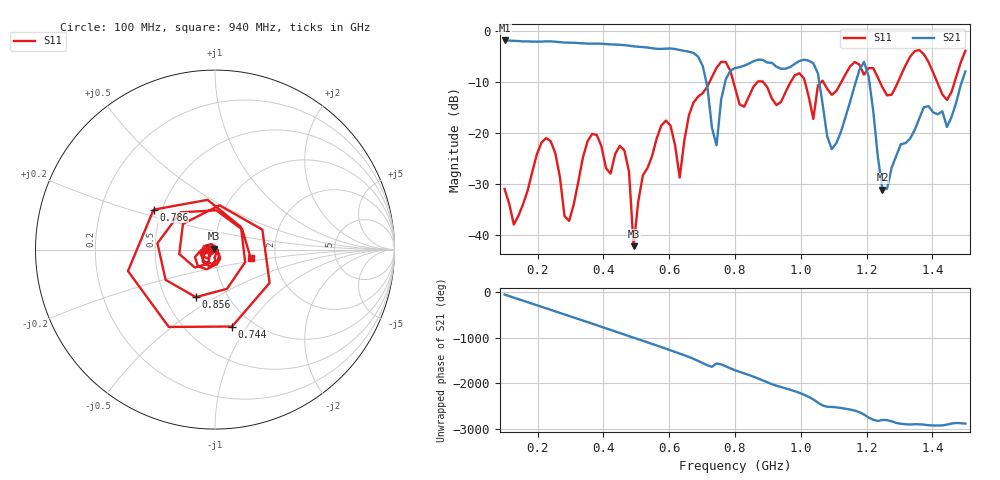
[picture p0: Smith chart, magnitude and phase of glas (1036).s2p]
! NanoVNA-App
! Date: 2025-09-25 16:03:32
! Start: 100MHz Stop: 1,5GHz Points: 101
! S-Parameter data: F S11 S21 S12 S22
# Hz S RI R 50
!  Frequency  S11_Real  S11_Imag  S21_Real  S21_Imag  S12_Real  S12_Imag  S22_Real  S22_Imag
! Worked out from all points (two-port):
!   101 points, 100 MHz to 1.5 GHz, reference 50 ohm
!   highest |S21| = -1.80 dB at 100 MHz (marker M1); lowest = -31.0 dB at 1.248 GHz (marker M2)
!   |S21| within 3 dB of the highest: start of sweep to 684.6 MHz
!   lowest |S11| = -42.1 dB at 492 MHz (marker M3), VSWR 1.02, Z = 49.5 + j0.591 ohm
!   |S11| at or under -10 dB: start of sweep to 722.4 MHz; 795.5 MHz to 867.7 MHz (72.15 MHz wide, 8.68 % of centre); 886.1 MHz to 968.6 MHz (82.45 MHz wide, 8.89 % of centre) (the widest 3 of 7)
!   S12 and S22 are empty: the file has one direction only
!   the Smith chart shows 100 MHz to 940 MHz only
!   S11 on the Smith chart (normalised r, x): 100 MHz: 0.94, -0.01; 744 MHz: 0.80, -0.85; 786 MHz: 0.45, +0.24; 856 MHz: 0.71, -0.41; 940 MHz: 1.49, -0.14
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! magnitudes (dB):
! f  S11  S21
! 100 MHz  -30.9  -1.8
! 128 MHz  -37.9  -1.9
! 226 MHz  -20.9  -2.0
! 296 MHz  -37.2  -2.2
! 338 MHz  -24.7  -2.4
! 464 MHz  -23.4  -2.7
! 492 MHz  -42.1  -3.0
! 576 MHz  -18.5  -3.5
! 632 MHz  -28.7  -3.7
! 702 MHz  -12.1  -6.8
! 744 MHz  -7.2  -22.4
! 786 MHz  -7.8  -7.7
! 800 MHz  -11.0  -7.2
! 856 MHz  -10.9  -5.9
! 940 MHz  -13.8  -7.3
! 996 MHz  -8.2  -5.8
! 1.038 GHz  -17.2  -6.3
! 1.094 GHz  -12.5  -23.1
! 1.192 GHz  -8.5  -6.0
! 1.248 GHz  -11.0  -31.0
! 1.276 GHz  -12.4  -26.7
! 1.5 GHz  -3.8  -7.9
